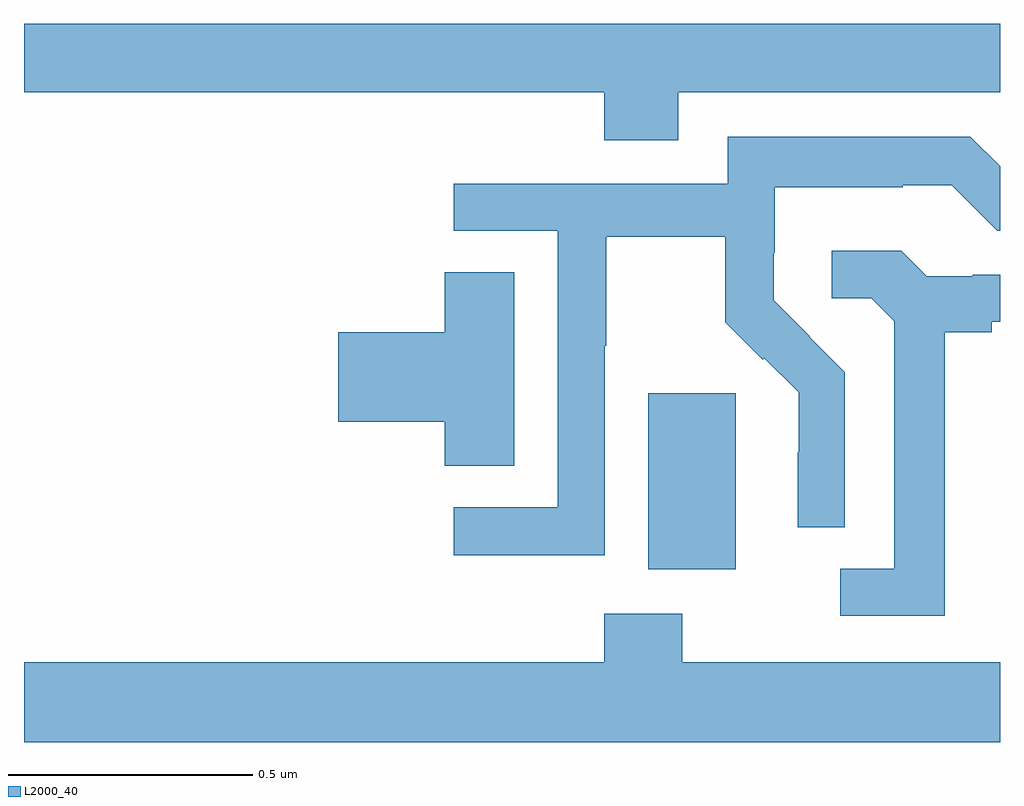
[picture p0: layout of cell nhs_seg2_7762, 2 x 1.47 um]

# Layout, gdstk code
import gdstk
lib = gdstk.Library(unit=1e-6, precision=1e-09)
def R(c, l, rs):  # rectangles x0, y0, x1, y1
    for r in rs: c.add(gdstk.rectangle(r[:2], r[2:], *l))
def P(c, l, *ps):  # polygons
    for p in ps: c.add(gdstk.Polygon(p, *l))
L2000_40 = (2000, 40)

nhs_seg2_7762 = lib.new_cell('nhs_seg2_7762')
R(nhs_seg2_7762, L2000_40, [(209.279,622.682,209.458,623.043)])
P(nhs_seg2_7762, L2000_40, [(209.341,623.66),(210,623.66),(210,623.8),(208,623.8),(208,623.66),(209.189,623.66),(209.189,623.561),(209.341,623.561)],
  [(209.19,623.14),(209.193,623.14),(209.193,623.364),(209.437,623.364),(209.437,623.189),(209.514,623.112),(209.517,623.115),(209.588,623.045),(209.588,622.922),(209.586,622.922),(209.586,622.768),(209.682,622.768),(209.682,623.086),(209.609,623.159),(209.61,623.16),(209.536,623.234),(209.536,623.331),(209.538,623.331),(209.538,623.465),(209.801,623.465),(209.801,623.469),(209.901,623.469),(209.994,623.376),(210,623.376),(210,623.508),(209.939,623.569),(209.442,623.569),(209.442,623.472),(208.881,623.472),(208.881,623.376),(209.094,623.376),(209.094,622.809),(208.881,622.809),(208.881,622.711),(209.19,622.711)],
  [(209.887,623.168),(209.983,623.168),(209.983,623.19),(210,623.19),(210,623.286),(209.944,623.286),(209.944,623.283),(209.85,623.283),(209.798,623.335),(209.655,623.335),(209.655,623.238),(209.736,623.238),(209.783,623.191),(209.783,622.683),(209.673,622.683),(209.673,622.587),(209.887,622.587)],
  [(209.005,623.291),(208.862,623.291),(208.862,623.168),(208.644,623.168),(208.644,622.985),(208.862,622.985),(208.862,622.894),(209.005,622.894)],
  [(210,622.492),(209.349,622.492),(209.349,622.591),(209.189,622.591),(209.189,622.492),(208,622.492),(208,622.328),(210,622.328)])

lib.write_gds('nhs_seg2_7762.gds')
